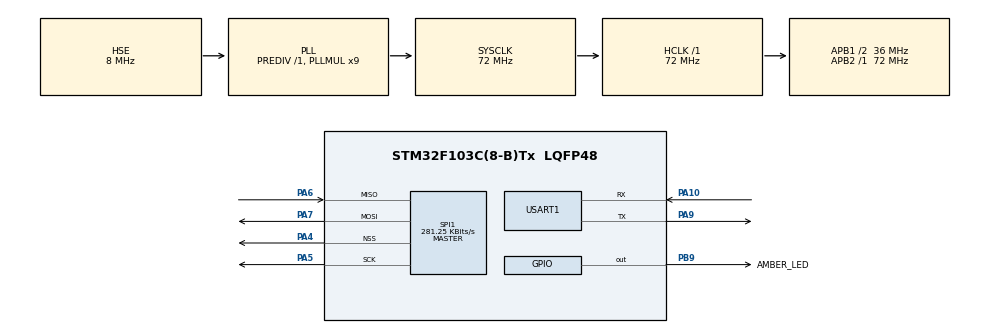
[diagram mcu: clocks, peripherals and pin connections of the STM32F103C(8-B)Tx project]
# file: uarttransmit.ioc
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Mcu.Family=STM32F1
Mcu.Name=STM32F103C(8-B)Tx
Mcu.Package=LQFP48
NVIC.PriorityGroup=NVIC_PRIORITYGROUP_4
NVIC.USART1_IRQn=true\:0\:0\:false\:false\:true
PA10.Mode=Asynchronous
PA10.Signal=USART1_RX
PA13.Mode=Serial_Wire
PA13.Signal=SYS_JTMS-SWDIO
PA14.Mode=Serial_Wire
PA14.Signal=SYS_JTCK-SWCLK
PA4.Mode=NSS_Signal_Hard_Output
PA4.Signal=SPI1_NSS
PA5.Mode=Full_Duplex_Master
PA5.Signal=SPI1_SCK
PA6.Mode=Full_Duplex_Master
PA6.Signal=SPI1_MISO
PA7.Mode=Full_Duplex_Master
PA7.Signal=SPI1_MOSI
PA9.Mode=Asynchronous
PA9.Signal=USART1_TX
PB9.GPIO_Label=AMBER_LED
PB9.GPIO_ModeDefaultOutputPP=GPIO_MODE_OUTPUT_PP
PB9.PinState=GPIO_PIN_SET
PB9.Signal=GPIO_Output
PD0-OSC_IN.Mode=HSE-External-Oscillator
PD0-OSC_IN.Signal=RCC_OSC_IN
PD1-OSC_OUT.Mode=HSE-External-Oscillator
PD1-OSC_OUT.Signal=RCC_OSC_OUT
ProjectManager.HeapSize=0x200
ProjectManager.StackSize=0x400
ProjectManager.TargetToolchain=SW4STM32
RCC.AHBFreq_Value=72000000
RCC.APB1CLKDivider=RCC_HCLK_DIV2
RCC.APB1Freq_Value=36000000
RCC.APB1TimFreq_Value=72000000
RCC.APB2Freq_Value=72000000
RCC.APB2TimFreq_Value=72000000
RCC.HCLKFreq_Value=72000000
RCC.PLLMUL=RCC_PLL_MUL9
RCC.PLLSourceVirtual=RCC_PLLSOURCE_HSE
RCC.SYSCLKFreq_VALUE=72000000
RCC.SYSCLKSource=RCC_SYSCLKSOURCE_PLLCLK
RCC.USBFreq_Value=72000000
SPI1.BaudRatePrescaler=SPI_BAUDRATEPRESCALER_256
SPI1.CLKPhase=SPI_PHASE_1EDGE
SPI1.CLKPolarity=SPI_POLARITY_HIGH
SPI1.CalculateBaudRate=281.25 KBits/s
SPI1.Direction=SPI_DIRECTION_2LINES
SPI1.Mode=SPI_MODE_MASTER
SPI1.VirtualNSS=VM_NSSHARD
SPI1.VirtualType=VM_MASTER
USART1.VirtualMode=VM_ASYNC
board=uarttransmit

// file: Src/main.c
/**
  ******************************************************************************
  * File Name          : main.c
  * Description        : Main program body
  ******************************************************************************
  ** This notice applies to any and all portions of this file
  * that are not between comment pairs USER CODE BEGIN and
  * USER CODE END. Other portions of this file, whether
  * inserted by the user or by software development tools
  * are owned by their respective copyright owners.
  *
  * COPYRIGHT(c) 2017 STMicroelectronics
  *
  * Redistribution and use in source and binary forms, with or without modification,
  * are permitted provided that the following conditions are met:
  *   1. Redistributions of source code must retain the above copyright notice,
  *      this list of conditions and the following disclaimer.
  *   2. Redistributions in binary form must reproduce the above copyright notice,
  *      this list of conditions and the following disclaimer in the documentation
  *      and/or other materials provided with the distribution.
  *   3. Neither the name of STMicroelectronics nor the names of its contributors
  *      may be used to endorse or promote products derived from this software
  *      without specific prior written permission.
  *
  * THIS SOFTWARE IS PROVIDED BY THE COPYRIGHT HOLDERS AND CONTRIBUTORS "AS IS"
  * AND ANY EXPRESS OR IMPLIED WARRANTIES, INCLUDING, BUT NOT LIMITED TO, THE
  * IMPLIED WARRANTIES OF MERCHANTABILITY AND FITNESS FOR A PARTICULAR PURPOSE ARE
  * DISCLAIMED. IN NO EVENT SHALL THE COPYRIGHT HOLDER OR CONTRIBUTORS BE LIABLE
  * FOR ANY DIRECT, INDIRECT, INCIDENTAL, SPECIAL, EXEMPLARY, OR CONSEQUENTIAL
  * DAMAGES (INCLUDING, BUT NOT LIMITED TO, PROCUREMENT OF SUBSTITUTE GOODS OR
  * SERVICES; LOSS OF USE, DATA, OR PROFITS; OR BUSINESS INTERRUPTION) HOWEVER
  * CAUSED AND ON ANY THEORY OF LIABILITY, WHETHER IN CONTRACT, STRICT LIABILITY,
  * OR TORT (INCLUDING NEGLIGENCE OR OTHERWISE) ARISING IN ANY WAY OUT OF THE USE
  * OF THIS SOFTWARE, EVEN IF ADVISED OF THE POSSIBILITY OF SUCH DAMAGE.
  *
  ******************************************************************************
  */
#include "main.h"
#include "stm32f1xx_hal.h"

SPI_HandleTypeDef hspi1;

UART_HandleTypeDef huart1;

/* USER CODE BEGIN PV */
/* Private variables ---------------------------------------------------------*/

/* USER CODE END PV */

void SystemClock_Config(void);
static void MX_GPIO_Init(void);
static void MX_USART1_UART_Init(void);
static void MX_SPI1_Init(void);

/* USER CODE BEGIN PFP */
/* Private function prototypes -----------------------------------------------*/
void executeCMD(UART_HandleTypeDef *huart);
/* USER CODE END PFP */

/* USER CODE BEGIN 0 */
#define MAXCLISTRING	100 	// Biggest string the user will type
uint8_t rxBuffer = 0; 			// where we store that one character that just came in
char rxString[MAXCLISTRING]; 	// where we build our string from characters coming in
int rxindex = 0; 				// index for going though rxString
#define CR		13				//"\r"
#define LF	 	10				//"\n"
#define BS		8				//"\b"
#define	del		127				//"del"
uint8_t messageResponse[] = {"hello\n"};
uint8_t messagewho[] = {"who\n"};
uint8_t messageh[] = {"abc\n"};
char *tempString;
long int getValue;
char *getChar;
char iState = 0;
//uint32_t *address;
int dataByte;
uint8_t* base_addr = (uint8_t *)SRAM_BASE;

char *helpMessg[] = {"This shell commands are defined internally. Type 'help' to see this list\n",	\
					"write <address of register> <data> <data>		write the data into the provide register address\n",	\
					"example: write 0x20000000 0xa 23				write 0xa into 0x20000000 address \n",	\
					"												write 23 into 0x200000001 address\n",	\
					"read <address> <number of byte>				read the data from provide register address\n" };

void executeCMD(UART_HandleTypeDef *huart){
/**
 * Bits   |   Access   |   Name   | Reset  | Description |
 * [31:8] | Read only  | -------- | ------ |  Reserved   |
 * [7:0]  | Read-write | REG[7:0] | 0xXX   | ----------- |
 */
	int i = 0;
	char *writeb = "writeb";
	char *writeh = "writeh";
	char *writew = "writew";
	char *help ="help";
	char *read = "read";
	__IO uint32_t *addressw;
	__IO uint16_t *addressh;
	__IO uint8_t *addressb;
	uint8_t lineFeed[] ={'\n'};
	uint8_t backspace[] ={'\b'};
	uint8_t space[] ={' '};
	int cmp;
	static uint32_t hal_busy_counter = 0;
	rxString[rxindex] = (char)rxBuffer;
	rxindex++;
	HAL_UART_Transmit(&huart1, &rxBuffer, 1, 0); // Echo the character that caused this callback so the user can see what they are typing
	printf("rxindex = [ %d ]	rxBuffer= [ '%c' ]\n", rxindex, rxBuffer);
//	HAL_UART_Transmit_IT(&huart1, &messageResponse[0], 6);

	if(rxBuffer == LF){
		if(HAL_UART_Transmit_IT(&huart1, &messagewho[0], 4) == HAL_BUSY){
			hal_busy_counter++;
		}
	}
	if(rxBuffer == 'h'){
			if(HAL_UART_Transmit_IT(&huart1, &messageh[0], 4) == HAL_BUSY){
				hal_busy_counter++;
			}
		}

}

void HAL_UART_RxCpltCallback(UART_HandleTypeDef *huart)
{

    if (huart->Instance == USART1)  //current UART
    {
        executeCMD(&huart1);
        HAL_UART_Receive_IT(&huart1, &rxBuffer, 1);   //activate UART receive interrupt every time on receiving 1 byte
    }

    //__HAL_UART_FLUSH_DRREGISTER(&huart1); // Clear the buffer to prevent overrun

}
/* USER CODE END 0 */

int main(void)
{

  /* MCU Configuration----------------------------------------------------------*/

  /* Reset of all peripherals, Initializes the Flash interface and the Systick. */
  HAL_Init();

  /* Configure the system clock */
  SystemClock_Config();

  /* Initialize all configured peripherals */
  MX_GPIO_Init();
  MX_USART1_UART_Init();
  MX_SPI1_Init();

  /* USER CODE BEGIN 2 */
	HAL_UART_Receive_IT(&huart1, &rxBuffer, 1);
  /* USER CODE END 2 */

  /* Infinite loop */
  while (1)
  {

  }

}

/** System Clock Configuration
*/
void SystemClock_Config(void)
{

  RCC_OscInitTypeDef RCC_OscInitStruct;
  RCC_ClkInitTypeDef RCC_ClkInitStruct;

    /**Initializes the CPU, AHB and APB busses clocks
    */
  RCC_OscInitStruct.OscillatorType = RCC_OSCILLATORTYPE_HSE;
  RCC_OscInitStruct.HSEState = RCC_HSE_ON;
  RCC_OscInitStruct.HSEPredivValue = RCC_HSE_PREDIV_DIV1;
  RCC_OscInitStruct.HSIState = RCC_HSI_ON;
  RCC_OscInitStruct.PLL.PLLState = RCC_PLL_ON;
  RCC_OscInitStruct.PLL.PLLSource = RCC_PLLSOURCE_HSE;
  RCC_OscInitStruct.PLL.PLLMUL = RCC_PLL_MUL9;
  if (HAL_RCC_OscConfig(&RCC_OscInitStruct) != HAL_OK)
  {
    _Error_Handler(__FILE__, __LINE__);
  }

    /**Initializes the CPU, AHB and APB busses clocks
    */
  RCC_ClkInitStruct.ClockType = RCC_CLOCKTYPE_HCLK|RCC_CLOCKTYPE_SYSCLK
                              |RCC_CLOCKTYPE_PCLK1|RCC_CLOCKTYPE_PCLK2;
  RCC_ClkInitStruct.SYSCLKSource = RCC_SYSCLKSOURCE_PLLCLK;
  RCC_ClkInitStruct.AHBCLKDivider = RCC_SYSCLK_DIV1;
  RCC_ClkInitStruct.APB1CLKDivider = RCC_HCLK_DIV2;
  RCC_ClkInitStruct.APB2CLKDivider = RCC_HCLK_DIV1;

  if (HAL_RCC_ClockConfig(&RCC_ClkInitStruct, FLASH_LATENCY_2) != HAL_OK)
  {
    _Error_Handler(__FILE__, __LINE__);
  }

    /**Configure the Systick interrupt time
    */
  HAL_SYSTICK_Config(HAL_RCC_GetHCLKFreq()/1000);

    /**Configure the Systick
    */
  HAL_SYSTICK_CLKSourceConfig(SYSTICK_CLKSOURCE_HCLK);

  /* SysTick_IRQn interrupt configuration */
  HAL_NVIC_SetPriority(SysTick_IRQn, 0, 0);
}

/* SPI1 init function */
static void MX_SPI1_Init(void)
{

  hspi1.Instance = SPI1;
  hspi1.Init.Mode = SPI_MODE_MASTER;
  hspi1.Init.Direction = SPI_DIRECTION_2LINES;
  hspi1.Init.DataSize = SPI_DATASIZE_8BIT;
  hspi1.Init.CLKPolarity = SPI_POLARITY_HIGH;
  hspi1.Init.CLKPhase = SPI_PHASE_1EDGE;
  hspi1.Init.NSS = SPI_NSS_HARD_OUTPUT;
  hspi1.Init.BaudRatePrescaler = SPI_BAUDRATEPRESCALER_256;
  hspi1.Init.FirstBit = SPI_FIRSTBIT_MSB;
  hspi1.Init.TIMode = SPI_TIMODE_DISABLE;
  hspi1.Init.CRCCalculation = SPI_CRCCALCULATION_DISABLE;
  hspi1.Init.CRCPolynomial = 10;
  if (HAL_SPI_Init(&hspi1) != HAL_OK)
  {
    _Error_Handler(__FILE__, __LINE__);
  }

}

/* USART1 init function */
static void MX_USART1_UART_Init(void)
{

  huart1.Instance = USART1;
  huart1.Init.BaudRate = 115200;
  huart1.Init.WordLength = UART_WORDLENGTH_8B;
  huart1.Init.StopBits = UART_STOPBITS_1;
  huart1.Init.Parity = UART_PARITY_NONE;
  huart1.Init.Mode = UART_MODE_TX_RX;
  huart1.Init.HwFlowCtl = UART_HWCONTROL_NONE;
  huart1.Init.OverSampling = UART_OVERSAMPLING_16;
  if (HAL_UART_Init(&huart1) != HAL_OK)
  {
    _Error_Handler(__FILE__, __LINE__);
  }

}

/** Configure pins as
        * Analog
        * Input
        * Output
        * EVENT_OUT
        * EXTI
*/
static void MX_GPIO_Init(void)
{

  GPIO_InitTypeDef GPIO_InitStruct;

  /* GPIO Ports Clock Enable */
  __HAL_RCC_GPIOD_CLK_ENABLE();
  __HAL_RCC_GPIOA_CLK_ENABLE();
  __HAL_RCC_GPIOB_CLK_ENABLE();

  /*Configure GPIO pin Output Level */
  HAL_GPIO_WritePin(AMBER_LED_GPIO_Port, AMBER_LED_Pin, GPIO_PIN_SET);

  /*Configure GPIO pin : AMBER_LED_Pin */
  GPIO_InitStruct.Pin = AMBER_LED_Pin;
  GPIO_InitStruct.Mode = GPIO_MODE_OUTPUT_PP;
  GPIO_InitStruct.Speed = GPIO_SPEED_FREQ_LOW;
  HAL_GPIO_Init(AMBER_LED_GPIO_Port, &GPIO_InitStruct);

}

void _Error_Handler(char * file, int line)
{
  while(1)
  {
  }
}

/************************ (C) COPYRIGHT STMicroelectronics *****END OF FILE****/
